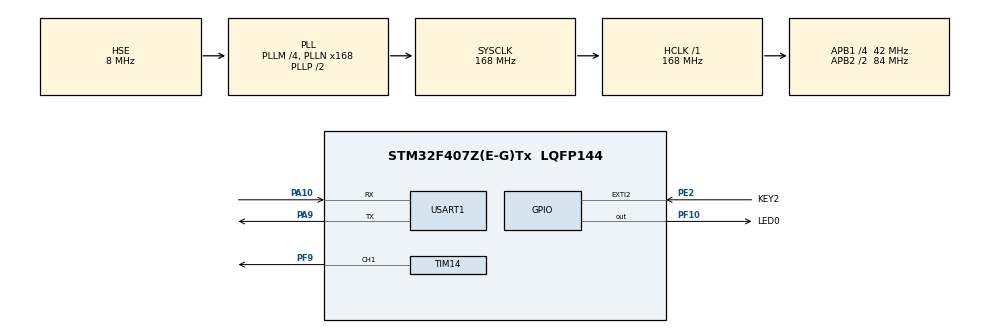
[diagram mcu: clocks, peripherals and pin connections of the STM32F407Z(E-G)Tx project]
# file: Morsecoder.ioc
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Dma.Request0=USART1_RX
Dma.Request1=USART1_TX
Dma.USART1_RX.0.Direction=DMA_PERIPH_TO_MEMORY
Dma.USART1_RX.0.FIFOMode=DMA_FIFOMODE_DISABLE
Dma.USART1_RX.0.Instance=DMA2_Stream2
Dma.USART1_RX.0.MemDataAlignment=DMA_MDATAALIGN_BYTE
Dma.USART1_RX.0.MemInc=DMA_MINC_ENABLE
Dma.USART1_RX.0.Mode=DMA_CIRCULAR
Dma.USART1_RX.0.PeriphDataAlignment=DMA_PDATAALIGN_BYTE
Dma.USART1_RX.0.PeriphInc=DMA_PINC_DISABLE
Dma.USART1_RX.0.Priority=DMA_PRIORITY_LOW
Dma.USART1_TX.1.Direction=DMA_MEMORY_TO_PERIPH
Dma.USART1_TX.1.FIFOMode=DMA_FIFOMODE_DISABLE
Dma.USART1_TX.1.Instance=DMA2_Stream7
Dma.USART1_TX.1.MemDataAlignment=DMA_MDATAALIGN_BYTE
Dma.USART1_TX.1.MemInc=DMA_MINC_ENABLE
Dma.USART1_TX.1.Mode=DMA_NORMAL
Dma.USART1_TX.1.PeriphDataAlignment=DMA_PDATAALIGN_BYTE
Dma.USART1_TX.1.PeriphInc=DMA_PINC_DISABLE
Dma.USART1_TX.1.Priority=DMA_PRIORITY_LOW
Mcu.Family=STM32F4
Mcu.Name=STM32F407Z(E-G)Tx
Mcu.Package=LQFP144
NVIC.DMA2_Stream2_IRQn=true\:0\:0\:false\:false\:true\:false\:true\:true
NVIC.DMA2_Stream7_IRQn=true\:0\:0\:false\:false\:true\:false\:true\:true
NVIC.EXTI2_IRQn=true\:5\:0\:true\:false\:true\:true\:true\:true
NVIC.PriorityGroup=NVIC_PRIORITYGROUP_4
NVIC.TIM2_IRQn=true\:6\:0\:true\:false\:true\:true\:true\:true
NVIC.USART1_IRQn=true\:7\:0\:true\:false\:true\:true\:true\:true
PA10.Mode=Asynchronous
PA10.Signal=USART1_RX
PA9.Mode=Asynchronous
PA9.Signal=USART1_TX
PE2.GPIO_Label=KEY2
PE2.GPIO_ModeDefaultEXTI=GPIO_MODE_IT_FALLING
PE2.GPIO_PuPd=GPIO_PULLUP
PE2.Signal=GPXTI2
PF10.GPIO_Label=LED0
PF10.GPIO_Speed=GPIO_SPEED_FREQ_HIGH
PF10.PinState=GPIO_PIN_SET
PF10.Signal=GPIO_Output
PF9.Signal=S_TIM14_CH1
PH0-OSC_IN.Mode=HSE-External-Oscillator
PH0-OSC_IN.Signal=RCC_OSC_IN
PH1-OSC_OUT.Mode=HSE-External-Oscillator
PH1-OSC_OUT.Signal=RCC_OSC_OUT
ProjectManager.HeapSize=0x400
ProjectManager.StackSize=0x400
ProjectManager.TargetToolchain=STM32CubeIDE
RCC.48MHZClocksFreq_Value=84000000
RCC.AHBFreq_Value=168000000
RCC.APB1CLKDivider=RCC_HCLK_DIV4
RCC.APB1Freq_Value=42000000
RCC.APB1TimFreq_Value=84000000
RCC.APB2CLKDivider=RCC_HCLK_DIV2
RCC.APB2Freq_Value=84000000
RCC.APB2TimFreq_Value=168000000
RCC.CortexFreq_Value=168000000
RCC.HCLKFreq_Value=168000000
RCC.HSE_VALUE=8000000
RCC.HSI_VALUE=16000000
RCC.LSE_VALUE=32768
RCC.PLLM=4
RCC.PLLN=168
RCC.PLLSourceVirtual=RCC_PLLSOURCE_HSE
RCC.SYSCLKFreq_VALUE=168000000
RCC.SYSCLKSource=RCC_SYSCLKSOURCE_PLLCLK
RCC.VCOOutputFreq_Value=336000000
SH.S_TIM14_CH1.0=TIM14_CH1,PWM Generation1 CH1
TIM14.Channel=TIM_CHANNEL_1
TIM14.OCPolarity_1=TIM_OCPOLARITY_LOW
TIM14.Period=1000-1
TIM14.Prescaler=84-1
TIM2.Period=10000-1
TIM2.Prescaler=8400-1
USART1.VirtualMode=VM_ASYNC
VP_TIM14_VS_ClockSourceINT.Mode=Enable_Timer
VP_TIM2_VS_ClockSourceINT.Mode=Internal
board=custom

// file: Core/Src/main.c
/* USER CODE BEGIN Header */
/**
  ******************************************************************************
  * @file           : main.c
  * @brief          : Main program body
  ******************************************************************************
  * @attention
  *
  * <h2><center>&copy; Copyright (c) 2021 STMicroelectronics.
  * All rights reserved.</center></h2>
  *
  * This software component is licensed by ST under BSD 3-Clause license,
  * the "License"; You may not use this file except in compliance with the
  * License. You may obtain a copy of the License at:
  *                        opensource.org/licenses/BSD-3-Clause
  *
  ******************************************************************************
  */
/* USER CODE END Header */
#include "main.h"
#include "dma.h"
#include "tim.h"
#include "usart.h"
#include "gpio.h"

/* USER CODE BEGIN Includes */
#include "Key.h"
#include "sign.h"
#include "input_content.h"
#include "string.h"
/* USER CODE END Includes */

/* USER CODE BEGIN PD */
uint8_t UartRxBuff[UART_DMA_BUFF_LEN_MAX];                                                   ///接收的字符
uint8_t UartTxBuff;                                                                          ///发送的字符
uint32_t exti_time = 0;                                                                      ///进入中断的次数-1
uint32_t key_down_time = 0;                                                                  ///按键按下的时间
uint32_t sign[SIGN_LENGTH_MAX] = {null,null,null,null,null,null};    ///默认电码组合为空
/* USER CODE END PD */

void SystemClock_Config(void);
/* USER CODE BEGIN PFP */
static inline void delayMicroseconds(uint32_t us);
/* USER CODE END PFP */

int main(void)
{

  /* MCU Configuration--------------------------------------------------------*/

  /* Reset of all peripherals, Initializes the Flash interface and the Systick. */
  HAL_Init();

  /* Configure the system clock */
  SystemClock_Config();

  /* Initialize all configured peripherals */
  MX_GPIO_Init();
  MX_DMA_Init();
  MX_TIM2_Init();
  MX_TIM14_Init();
  MX_USART1_UART_Init();
  /* USER CODE BEGIN 2 */
  __HAL_UART_ENABLE_IT(&huart1,UART_IT_IDLE);
  /* USER CODE END 2 */

  /* Infinite loop */
  /* USER CODE BEGIN WHILE */
  while (1)
  {
      HAL_UART_Receive_DMA(&huart1,UartRxBuff,UART_DMA_BUFF_LEN_MAX);
      for(int x = 0;UartRxBuff[x] != '\0';x++)
      {
          character_to_sign(UartRxBuff + x);
          led_control();
          HAL_Delay(CHARACTER_REST_TIME);
      }
      memset(UartRxBuff,0,sizeof UartRxBuff);
    /* USER CODE END WHILE */

  }
}

void SystemClock_Config(void)
{
  RCC_OscInitTypeDef RCC_OscInitStruct = {0};
  RCC_ClkInitTypeDef RCC_ClkInitStruct = {0};

  /** Configure the main internal regulator output voltage
  */
  __HAL_RCC_PWR_CLK_ENABLE();
  __HAL_PWR_VOLTAGESCALING_CONFIG(PWR_REGULATOR_VOLTAGE_SCALE1);

  /** Initializes the RCC Oscillators according to the specified parameters
  * in the RCC_OscInitTypeDef structure.
  */
  RCC_OscInitStruct.OscillatorType = RCC_OSCILLATORTYPE_HSE;
  RCC_OscInitStruct.HSEState = RCC_HSE_ON;
  RCC_OscInitStruct.PLL.PLLState = RCC_PLL_ON;
  RCC_OscInitStruct.PLL.PLLSource = RCC_PLLSOURCE_HSE;
  RCC_OscInitStruct.PLL.PLLM = 4;
  RCC_OscInitStruct.PLL.PLLN = 168;
  RCC_OscInitStruct.PLL.PLLP = RCC_PLLP_DIV2;
  RCC_OscInitStruct.PLL.PLLQ = 4;
  if (HAL_RCC_OscConfig(&RCC_OscInitStruct) != HAL_OK)
  {
    Error_Handler();
  }

  /** Initializes the CPU, AHB and APB buses clocks
  */
  RCC_ClkInitStruct.ClockType = RCC_CLOCKTYPE_HCLK|RCC_CLOCKTYPE_SYSCLK
                              |RCC_CLOCKTYPE_PCLK1|RCC_CLOCKTYPE_PCLK2;
  RCC_ClkInitStruct.SYSCLKSource = RCC_SYSCLKSOURCE_PLLCLK;
  RCC_ClkInitStruct.AHBCLKDivider = RCC_SYSCLK_DIV1;
  RCC_ClkInitStruct.APB1CLKDivider = RCC_HCLK_DIV4;
  RCC_ClkInitStruct.APB2CLKDivider = RCC_HCLK_DIV2;

  if (HAL_RCC_ClockConfig(&RCC_ClkInitStruct, FLASH_LATENCY_5) != HAL_OK)
  {
    Error_Handler();
  }
}

/* USER CODE BEGIN 4 */
static inline void delayMicroseconds(uint32_t us)
{
    __IO uint32_t currentTicks = SysTick->VAL;
    /* Number of ticks per millisecond */
    const uint32_t tickPerMs = SysTick->LOAD + 1;
    /* Number of ticks to count */
    const uint32_t nbTicks = ((us - ((us > 0) ? 1 : 0)) * tickPerMs) / 1000;
    /* Number of elapsed ticks */
    uint32_t elapsedTicks = 0;
    __IO uint32_t oldTicks = currentTicks;
    do {
        currentTicks = SysTick->VAL;
        elapsedTicks += (oldTicks < currentTicks) ? tickPerMs + oldTicks - currentTicks :
                        oldTicks - currentTicks;
        oldTicks = currentTicks;
    } while (nbTicks > elapsedTicks);
}
void HAL_GPIO_EXTI_Callback(uint16_t GPIO_Pin)
{
    if(GPIO_Pin == GPIO_PIN_2){
        /**关闭定时器*/
        HAL_TIM_Base_Stop_IT(&htim2);
        /**计数器值清0*/
        __HAL_TIM_SET_COUNTER(&htim2,0);
        /**检测按键按下的时间*/
        while(HAL_GPIO_ReadPin(KEY2_GPIO_Port,KEY2_Pin) == GPIO_PIN_RESET){
            delayMicroseconds(1000);
            key_down_time++;
        }
        sign[exti_time] = Key_Time_Judge(key_down_time);
        /**根据进入中断的次数将每次按下的时间翻译成代号*/
        exti_time = Key_Exti_Judge(exti_time);
        /**判断是否要发送*/
        DataTx_Judge();
        /**打开定时器*/
        HAL_TIM_Base_Start_IT(&htim2);
        /**按下时间清0*/
        key_down_time = 0;
    }
}
void HAL_TIM_PeriodElapsedCallback(TIM_HandleTypeDef *htim)
{
    if(htim == &htim2){
        /**关掉定时器*/
        HAL_TIM_Base_Stop_IT(&htim2);
        /**清空计数器值*/
        __HAL_TIM_SET_COUNTER(&htim2,0);
        /**进入中断次数清0*/
        exti_time = 0;
        /**把得到的时间长短转译成的代号翻译成文字*/
        UartTxBuff = sign_to_character(sign);
        /**清空时间长短转译成的代号*/
        sign_clear();
        /**向上位机传输字符*/
        HAL_UART_Transmit_DMA(&huart1,&UartTxBuff,1);
        /**判断字符是否为数字，并控制灯的亮度*/
        LED_Brightness_Control(&UartTxBuff);
    }
}
/* USER CODE END 4 */

void Error_Handler(void)
{
  __disable_irq();
  while (1)
  {
  }
}
